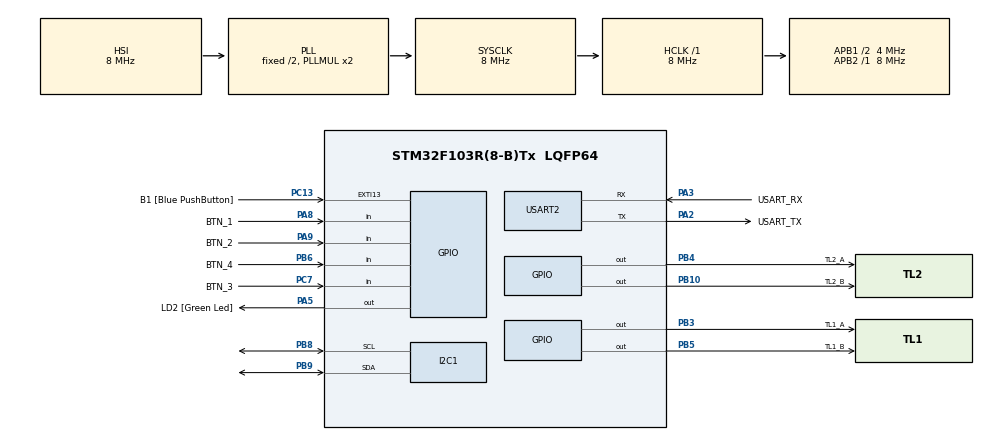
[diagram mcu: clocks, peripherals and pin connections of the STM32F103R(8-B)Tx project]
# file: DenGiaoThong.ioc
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Mcu.Family=STM32F1
Mcu.Name=STM32F103R(8-B)Tx
Mcu.Package=LQFP64
NVIC.EXTI15_10_IRQn=true\:0\:0\:false\:false\:true\:true\:true
NVIC.PriorityGroup=NVIC_PRIORITYGROUP_4
NVIC.TIM2_IRQn=true\:0\:0\:false\:false\:true\:true\:true
PA13.GPIO_Label=TMS
PA13.Mode=Serial_Wire
PA13.Signal=SYS_JTMS-SWDIO
PA14.GPIO_Label=TCK
PA14.Mode=Serial_Wire
PA14.Signal=SYS_JTCK-SWCLK
PA2.GPIO_Label=USART_TX
PA2.GPIO_Mode=GPIO_MODE_AF_PP
PA2.GPIO_PuPd=GPIO_NOPULL
PA2.GPIO_Speed=GPIO_SPEED_FREQ_LOW
PA2.Mode=Asynchronous
PA2.Signal=USART2_TX
PA3.GPIO_Label=USART_RX
PA3.GPIO_Mode=GPIO_MODE_AF_PP
PA3.GPIO_PuPd=GPIO_NOPULL
PA3.GPIO_Speed=GPIO_SPEED_FREQ_LOW
PA3.Mode=Asynchronous
PA3.Signal=USART2_RX
PA5.GPIO_Label=LD2 [Green Led]
PA5.GPIO_ModeDefaultOutputPP=GPIO_MODE_OUTPUT_PP
PA5.GPIO_PuPd=GPIO_NOPULL
PA5.GPIO_Speed=GPIO_SPEED_FREQ_LOW
PA5.Signal=GPIO_Output
PA8.GPIO_Label=BTN_1
PA8.GPIO_PuPd=GPIO_PULLUP
PA8.Signal=GPIO_Input
PA9.GPIO_Label=BTN_2
PA9.GPIO_PuPd=GPIO_PULLUP
PA9.Signal=GPIO_Input
PB10.GPIO_Label=TL2_B
PB10.Signal=GPIO_Output
PB3.GPIO_Label=TL1_A
PB3.Signal=GPIO_Output
PB4.GPIO_Label=TL2_A
PB4.Signal=GPIO_Output
PB5.GPIO_Label=TL1_B
PB5.Signal=GPIO_Output
PB6.GPIO_Label=BTN_4
PB6.GPIO_PuPd=GPIO_PULLUP
PB6.Signal=GPIO_Input
PB8.Mode=I2C
PB8.Signal=I2C1_SCL
PB9.Mode=I2C
PB9.Signal=I2C1_SDA
PC13-TAMPER-RTC.GPIO_Label=B1 [Blue PushButton]
PC13-TAMPER-RTC.GPIO_PuPd=GPIO_NOPULL
PC13-TAMPER-RTC.Signal=GPXTI13
PC14-OSC32_IN.Mode=LSE-External-Oscillator
PC14-OSC32_IN.Signal=RCC_OSC32_IN
PC15-OSC32_OUT.Mode=LSE-External-Oscillator
PC15-OSC32_OUT.Signal=RCC_OSC32_OUT
PC7.GPIO_Label=BTN_3
PC7.GPIO_PuPd=GPIO_PULLUP
PC7.Signal=GPIO_Input
PD0-OSC_IN.Mode=HSE-External-Clock-Source
PD0-OSC_IN.Signal=RCC_OSC_IN
PD1-OSC_OUT.Mode=HSE-External-Clock-Source
PD1-OSC_OUT.Signal=RCC_OSC_OUT
ProjectManager.HeapSize=0x200
ProjectManager.StackSize=0x400
ProjectManager.TargetToolchain=STM32CubeIDE
RCC.AHBFreq_Value=8000000
RCC.APB1CLKDivider=RCC_HCLK_DIV2
RCC.APB1Freq_Value=4000000
RCC.APB1TimFreq_Value=8000000
RCC.APB2Freq_Value=8000000
RCC.APB2TimFreq_Value=8000000
RCC.HCLKFreq_Value=8000000
RCC.RTCClockSelection=RCC_RTCCLKSOURCE_LSE
RCC.SYSCLKFreq_VALUE=8000000
RCC.SYSCLKSource=RCC_SYSCLKSOURCE_PLLCLK
RCC.USBFreq_Value=8000000
TIM2.Period=9
TIM2.Prescaler=7999
USART2.VirtualMode=VM_ASYNC
VP_TIM2_VS_ClockSourceINT.Mode=Internal
board=NUCLEO-F103RB

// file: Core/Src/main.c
/* USER CODE BEGIN Header */
/**
  ******************************************************************************
  * @file           : main.c
  * @brief          : Main program body
  ******************************************************************************
  * @attention
  *
  * <h2><center>&copy; Copyright (c) 2026 STMicroelectronics.
  * All rights reserved.</center></h2>
  *
  * This software component is licensed by ST under BSD 3-Clause license,
  * the "License"; You may not use this file except in compliance with the
  * License. You may obtain a copy of the License at:
  *                        opensource.org/licenses/BSD-3-Clause
  *
  ******************************************************************************
  */
/* USER CODE END Header */
#include "main.h"

/* USER CODE BEGIN Includes */
#include "scheduler.h"
#include "software_timer.h"
#include "button.h"
#include "traffic_light.h"
#include "fsm_automatic.h"
#include "fsm_manual.h"
#include "fsm_tuning.h"
#include "lcd_screen.h"
/* USER CODE END Includes */

/* USER CODE BEGIN PD */
#define DHT20_SAMPLE_TICKS     100U
#define DHT20_READ_DELAY_TICKS   9U
#define DHT20_RETRY_TICKS        2U
#define LCD_FORMAT_PERIOD_MS   100U
#define LCD_CHARS_PER_UPDATE     4U
/* USER CODE END PD */

I2C_HandleTypeDef hi2c1;

TIM_HandleTypeDef htim2;

UART_HandleTypeDef huart2;

/* USER CODE BEGIN PV */
static DHT20_HandleTypeDef dht;
static LCD_HandleTypeDef lcd;

/* USER CODE END PV */

void SystemClock_Config(void);
static void MX_GPIO_Init(void);
static void MX_USART2_UART_Init(void);
static void MX_I2C1_Init(void);
static void MX_TIM2_Init(void);

/* USER CODE BEGIN 0 */
static void task_dht20_read_oneshot(void) {
    HAL_StatusTypeDef st = dht20_read_data(&dht);
    if (st == HAL_OK) {
        (void)dht20_convert(&dht);
    } else if (st == HAL_BUSY && dht.pending != 0U) {
        /* Cảm biến chưa đo xong, hẹn one-shot đọc lại sau 20ms */
        (void)SCH_Add_Task(task_dht20_read_oneshot, DHT20_RETRY_TICKS, 0);
    }
}

static void task_dht20_request(void) {
    if (dht.pending == 0U) {
        if (dht20_request_data(&dht) == HAL_OK) {
            /* Task one-shot (Period = 0): đọc kết quả sau 90ms rồi tự xóa */
            (void)SCH_Add_Task(task_dht20_read_oneshot, DHT20_READ_DELAY_TICKS, 0);
        }
    }
}

static void task_lcd_update(void) {
    static char wanted[LCD_ROWS][LCD_COLS + 1U];
    static char displayed[LCD_ROWS][LCD_COLS];
    static uint32_t last_format;

    uint32_t now = HAL_GetTick();
    if (wanted[0][0] == '\0' || now - last_format >= LCD_FORMAT_PERIOD_MS) {
        lcd_screen_format(wanted, &dht);
        last_format = now;
    }

    /* Send at most one short run per tick to keep the other tasks responsive. */
    for (uint8_t row = 0; row < LCD_ROWS; ++row) {
        uint8_t col = 0;
        while (col < LCD_COLS && wanted[row][col] == displayed[row][col]) {
            ++col;
        }
        if (col == LCD_COLS) {
            continue;
        }
        if (lcd_set_cursor(&lcd, col, row) != HAL_OK) {
            return;
        }
        for (uint8_t count = 0; count < LCD_CHARS_PER_UPDATE && col < LCD_COLS;
             ++count, ++col) {
            if (wanted[row][col] == displayed[row][col] ||
                lcd_write_char(&lcd, wanted[row][col]) != HAL_OK) {
                break;
            }
            displayed[row][col] = wanted[row][col];
        }
        return;
    }
}

void task_led_pa5(void) {
    HAL_GPIO_TogglePin(GPIOA, GPIO_PIN_5);
}

void HAL_TIM_PeriodElapsedCallback(TIM_HandleTypeDef *htim) {
    if (htim->Instance == TIM2) {
        SCH_Update();
    }
}
/* USER CODE END 0 */

int main(void)
{

  /* MCU Configuration--------------------------------------------------------*/

  /* Reset of all peripherals, Initializes the Flash interface and the Systick. */
  HAL_Init();

  /* Configure the system clock */
  SystemClock_Config();

  /* Initialize all configured peripherals */
  MX_GPIO_Init();
  MX_USART2_UART_Init();
  MX_I2C1_Init();
  MX_TIM2_Init();
  /* USER CODE BEGIN 2 */
  button_init();
  traffic_init();
  traffic_set(1, TL_RED);
  traffic_set(2, TL_RED);
  HAL_StatusTypeDef dht_status = dht20_init(&dht, &hi2c1);
  HAL_StatusTypeDef lcd_status = lcd_init(&lcd, &hi2c1);

  SCH_Init();
  SCH_Add_Task(timer_run, 0, 1);          // Cập nhật software timer mỗi 10ms
  SCH_Add_Task(button_read, 0, 1);        // Quét nút bấm mỗi 10ms
  SCH_Add_Task(fsm_automatic_run, 0, 1);  // FSM chế độ tự động mỗi 10ms
  SCH_Add_Task(fsm_manual_run, 0, 1);     // FSM chế độ bằng tay & chuyển chế độ mỗi 10ms
  SCH_Add_Task(fsm_tuning_run, 0, 1);     // FSM chỉnh thời gian mỗi 10ms
  SCH_Add_Task(task_led_pa5, 0, 50);      // Nháy LED PA5 mỗi 500ms (heartbeat)
  if (dht_status == HAL_OK) {
    SCH_Add_Task(task_dht20_request, 0, DHT20_SAMPLE_TICKS); // Đọc DHT20 mỗi 1s
  }
  if (lcd_status == HAL_OK) {
    SCH_Add_Task(task_lcd_update, 0, 1);
  }
  if (HAL_TIM_Base_Start_IT(&htim2) != HAL_OK) {
    Error_Handler();
  }
  /* USER CODE END 2 */

  /* Infinite loop */
  while (1)
  {

    /* USER CODE BEGIN 3 */
	SCH_Dispatch_Tasks();
  }
  /* USER CODE END 3 */
}

void SystemClock_Config(void)
{
  RCC_OscInitTypeDef RCC_OscInitStruct = {0};
  RCC_ClkInitTypeDef RCC_ClkInitStruct = {0};

  /** Initializes the RCC Oscillators according to the specified parameters
  * in the RCC_OscInitTypeDef structure.
  */
  RCC_OscInitStruct.OscillatorType = RCC_OSCILLATORTYPE_HSI;
  RCC_OscInitStruct.HSIState = RCC_HSI_ON;
  RCC_OscInitStruct.HSICalibrationValue = RCC_HSICALIBRATION_DEFAULT;
  RCC_OscInitStruct.PLL.PLLState = RCC_PLL_ON;
  RCC_OscInitStruct.PLL.PLLSource = RCC_PLLSOURCE_HSI_DIV2;
  RCC_OscInitStruct.PLL.PLLMUL = RCC_PLL_MUL2;
  if (HAL_RCC_OscConfig(&RCC_OscInitStruct) != HAL_OK)
  {
    Error_Handler();
  }
  /** Initializes the CPU, AHB and APB buses clocks
  */
  RCC_ClkInitStruct.ClockType = RCC_CLOCKTYPE_HCLK|RCC_CLOCKTYPE_SYSCLK
                              |RCC_CLOCKTYPE_PCLK1|RCC_CLOCKTYPE_PCLK2;
  RCC_ClkInitStruct.SYSCLKSource = RCC_SYSCLKSOURCE_PLLCLK;
  RCC_ClkInitStruct.AHBCLKDivider = RCC_SYSCLK_DIV1;
  RCC_ClkInitStruct.APB1CLKDivider = RCC_HCLK_DIV2;
  RCC_ClkInitStruct.APB2CLKDivider = RCC_HCLK_DIV1;

  if (HAL_RCC_ClockConfig(&RCC_ClkInitStruct, FLASH_LATENCY_0) != HAL_OK)
  {
    Error_Handler();
  }
}

static void MX_I2C1_Init(void)
{

  hi2c1.Instance = I2C1;
  hi2c1.Init.ClockSpeed = 100000;
  hi2c1.Init.DutyCycle = I2C_DUTYCYCLE_2;
  hi2c1.Init.OwnAddress1 = 0;
  hi2c1.Init.AddressingMode = I2C_ADDRESSINGMODE_7BIT;
  hi2c1.Init.DualAddressMode = I2C_DUALADDRESS_DISABLE;
  hi2c1.Init.OwnAddress2 = 0;
  hi2c1.Init.GeneralCallMode = I2C_GENERALCALL_DISABLE;
  hi2c1.Init.NoStretchMode = I2C_NOSTRETCH_DISABLE;
  if (HAL_I2C_Init(&hi2c1) != HAL_OK)
  {
    Error_Handler();
  }

}

static void MX_TIM2_Init(void)
{

  TIM_ClockConfigTypeDef sClockSourceConfig = {0};
  TIM_MasterConfigTypeDef sMasterConfig = {0};

  htim2.Instance = TIM2;
  htim2.Init.Prescaler = 7999;
  htim2.Init.CounterMode = TIM_COUNTERMODE_UP;
  htim2.Init.Period = 9;
  htim2.Init.ClockDivision = TIM_CLOCKDIVISION_DIV1;
  htim2.Init.AutoReloadPreload = TIM_AUTORELOAD_PRELOAD_DISABLE;
  if (HAL_TIM_Base_Init(&htim2) != HAL_OK)
  {
    Error_Handler();
  }
  sClockSourceConfig.ClockSource = TIM_CLOCKSOURCE_INTERNAL;
  if (HAL_TIM_ConfigClockSource(&htim2, &sClockSourceConfig) != HAL_OK)
  {
    Error_Handler();
  }
  sMasterConfig.MasterOutputTrigger = TIM_TRGO_RESET;
  sMasterConfig.MasterSlaveMode = TIM_MASTERSLAVEMODE_DISABLE;
  if (HAL_TIMEx_MasterConfigSynchronization(&htim2, &sMasterConfig) != HAL_OK)
  {
    Error_Handler();
  }

}

static void MX_USART2_UART_Init(void)
{

  huart2.Instance = USART2;
  huart2.Init.BaudRate = 115200;
  huart2.Init.WordLength = UART_WORDLENGTH_8B;
  huart2.Init.StopBits = UART_STOPBITS_1;
  huart2.Init.Parity = UART_PARITY_NONE;
  huart2.Init.Mode = UART_MODE_TX_RX;
  huart2.Init.HwFlowCtl = UART_HWCONTROL_NONE;
  huart2.Init.OverSampling = UART_OVERSAMPLING_16;
  if (HAL_UART_Init(&huart2) != HAL_OK)
  {
    Error_Handler();
  }

}

static void MX_GPIO_Init(void)
{
  GPIO_InitTypeDef GPIO_InitStruct = {0};

  /* GPIO Ports Clock Enable */
  __HAL_RCC_GPIOC_CLK_ENABLE();
  __HAL_RCC_GPIOD_CLK_ENABLE();
  __HAL_RCC_GPIOA_CLK_ENABLE();
  __HAL_RCC_GPIOB_CLK_ENABLE();

  /*Configure GPIO pin Output Level */
  HAL_GPIO_WritePin(LD2_GPIO_Port, LD2_Pin, GPIO_PIN_RESET);

  /*Configure GPIO pin Output Level */
  HAL_GPIO_WritePin(GPIOB, TL2_B_Pin|TL1_A_Pin|TL2_A_Pin|TL1_B_Pin, GPIO_PIN_RESET);

  /*Configure GPIO pin : B1_Pin */
  GPIO_InitStruct.Pin = B1_Pin;
  GPIO_InitStruct.Mode = GPIO_MODE_IT_RISING;
  GPIO_InitStruct.Pull = GPIO_NOPULL;
  HAL_GPIO_Init(B1_GPIO_Port, &GPIO_InitStruct);

  /*Configure GPIO pin : LD2_Pin */
  GPIO_InitStruct.Pin = LD2_Pin;
  GPIO_InitStruct.Mode = GPIO_MODE_OUTPUT_PP;
  GPIO_InitStruct.Pull = GPIO_NOPULL;
  GPIO_InitStruct.Speed = GPIO_SPEED_FREQ_LOW;
  HAL_GPIO_Init(LD2_GPIO_Port, &GPIO_InitStruct);

  /*Configure GPIO pins : TL2_B_Pin TL1_A_Pin TL2_A_Pin TL1_B_Pin */
  GPIO_InitStruct.Pin = TL2_B_Pin|TL1_A_Pin|TL2_A_Pin|TL1_B_Pin;
  GPIO_InitStruct.Mode = GPIO_MODE_OUTPUT_PP;
  GPIO_InitStruct.Pull = GPIO_NOPULL;
  GPIO_InitStruct.Speed = GPIO_SPEED_FREQ_LOW;
  HAL_GPIO_Init(GPIOB, &GPIO_InitStruct);

  /*Configure GPIO pin : BTN_3_Pin */
  GPIO_InitStruct.Pin = BTN_3_Pin;
  GPIO_InitStruct.Mode = GPIO_MODE_INPUT;
  GPIO_InitStruct.Pull = GPIO_PULLUP;
  HAL_GPIO_Init(BTN_3_GPIO_Port, &GPIO_InitStruct);

  /*Configure GPIO pins : BTN_1_Pin BTN_2_Pin */
  GPIO_InitStruct.Pin = BTN_1_Pin|BTN_2_Pin;
  GPIO_InitStruct.Mode = GPIO_MODE_INPUT;
  GPIO_InitStruct.Pull = GPIO_PULLUP;
  HAL_GPIO_Init(GPIOA, &GPIO_InitStruct);

  /*Configure GPIO pin : BTN_4_Pin */
  GPIO_InitStruct.Pin = BTN_4_Pin;
  GPIO_InitStruct.Mode = GPIO_MODE_INPUT;
  GPIO_InitStruct.Pull = GPIO_PULLUP;
  HAL_GPIO_Init(BTN_4_GPIO_Port, &GPIO_InitStruct);

  /* EXTI interrupt init*/
  HAL_NVIC_SetPriority(EXTI15_10_IRQn, 0, 0);
  HAL_NVIC_EnableIRQ(EXTI15_10_IRQn);

}

void Error_Handler(void)
{
  __disable_irq();
  while (1)
  {
  }
}

/************************ (C) COPYRIGHT STMicroelectronics *****END OF FILE****/
